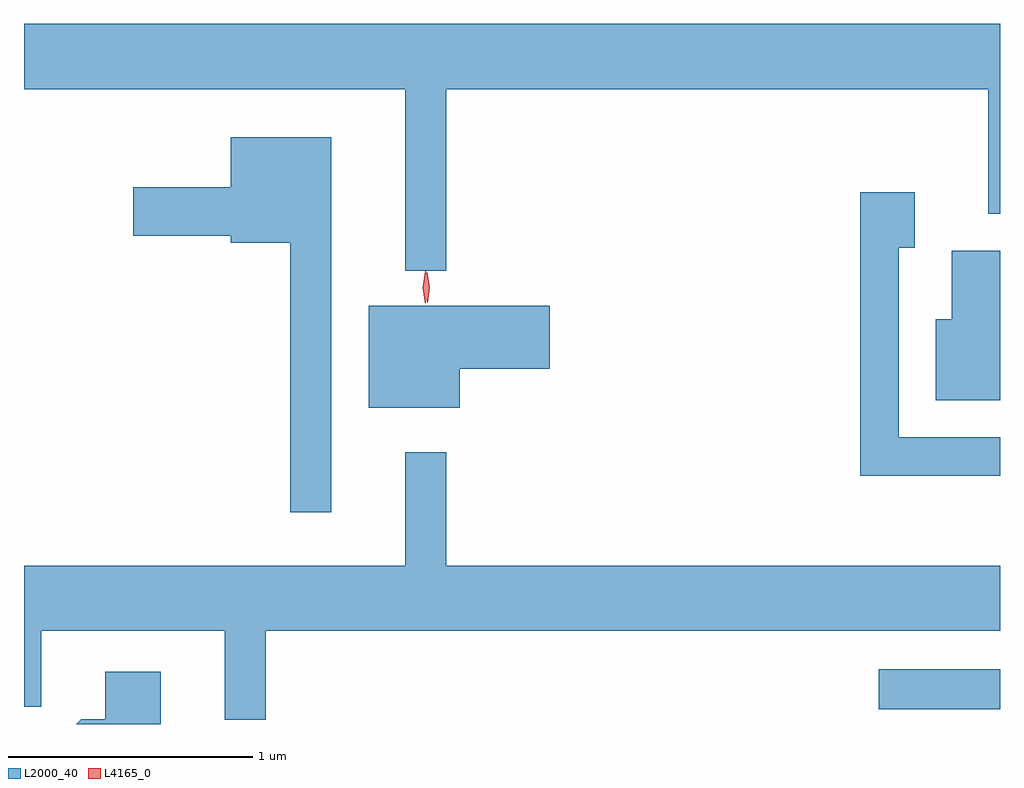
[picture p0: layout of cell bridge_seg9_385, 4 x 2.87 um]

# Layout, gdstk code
import gdstk
lib = gdstk.Library(unit=1e-6, precision=1e-09)
def R(c, l, rs):  # rectangles x0, y0, x1, y1
    for r in rs: c.add(gdstk.rectangle(r[:2], r[2:], *l))
def P(c, l, *ps):  # polygons
    for p in ps: c.add(gdstk.Polygon(p, *l))
L2000_40 = (2000, 40)
L4165_0 = (4165, 0)

bridge_seg9_385 = lib.new_cell('bridge_seg9_385')
R(bridge_seg9_385, L2000_40, [(940.933,1973.736,941.429,1973.899)])
P(bridge_seg9_385, L2000_40, [(939.159,1976.276),(941.381,1976.276),(941.381,1975.766),(941.429,1975.766),(941.429,1976.544),(937.429,1976.544),(937.429,1976.276),(938.991,1976.276),(938.991,1975.533),(939.159,1975.533)],
  [(938.689,1976.079),(938.276,1976.079),(938.276,1975.874),(937.876,1975.874),(937.876,1975.676),(938.276,1975.676),(938.276,1975.646),(938.521,1975.646),(938.521,1974.543),(938.689,1974.543)],
  [(941.429,1974.849),(941.014,1974.849),(941.014,1975.626),(941.079,1975.626),(941.079,1975.854),(940.856,1975.854),(940.856,1974.691),(941.429,1974.691)],
  [(941.429,1975.614),(941.231,1975.614),(941.231,1975.334),(941.166,1975.334),(941.166,1975.001),(941.429,1975.001)],
  [(939.214,1975.131),(939.584,1975.131),(939.584,1975.389),(938.841,1975.389),(938.841,1974.971),(939.214,1974.971)],
  [(938.419,1974.056),(941.429,1974.056),(941.429,1974.324),(939.159,1974.324),(939.159,1974.788),(938.991,1974.788),(938.991,1974.324),(937.429,1974.324),(937.429,1973.746),(937.499,1973.746),(937.499,1974.056),(938.251,1974.056),(938.251,1973.693),(938.419,1973.693)],
  [(937.989,1973.889),(937.761,1973.889),(937.761,1973.694),(937.664,1973.694),(937.644,1973.674),(937.989,1973.674)])
P(bridge_seg9_385, L4165_0, [(939.082,1975.4),(939.082,1975.401),(939.072,1975.463),(939.08,1975.526),(939.081,1975.527),(939.081,1975.526),(939.092,1975.464),(939.083,1975.401)],
  [(939.073,1975.394),(939.073,1975.394),(939.064,1975.462),(939.074,1975.53),(939.075,1975.53),(939.075,1975.53),(939.084,1975.462),(939.074,1975.394)])

lib.write_gds('bridge_seg9_385.gds')
